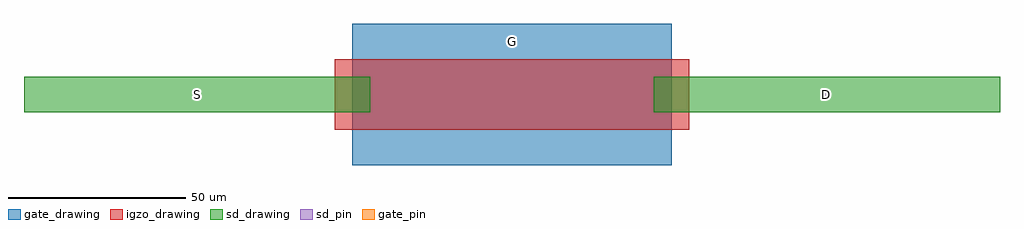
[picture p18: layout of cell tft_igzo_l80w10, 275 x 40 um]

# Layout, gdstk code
import gdstk
lib = gdstk.Library(unit=1e-6, precision=1e-09)
def R(c, l, rs):  # rectangles x0, y0, x1, y1
    for r in rs: c.add(gdstk.rectangle(r[:2], r[2:], *l))
gate_drawing = (2, 0)
gate_pin = (2, 10)
igzo_drawing = (4, 0)
sd_drawing = (6, 0)
sd_pin = (6, 10)

tft_igzo_l80w10 = lib.new_cell('tft_igzo_l80w10')
R(tft_igzo_l80w10, gate_drawing, [(-45,-20,45,20)])
R(tft_igzo_l80w10, gate_pin, [(-0.5,14.5,0.5,15.5)])
R(tft_igzo_l80w10, igzo_drawing, [(-50,-10,50,10)])
R(tft_igzo_l80w10, sd_drawing, [(-137.5,-5,-40,5), (40,-5,137.5,5)])
R(tft_igzo_l80w10, sd_pin, [(-89.25,-0.5,-88.25,0.5), (88.25,-0.5,89.25,0.5)])
tft_igzo_l80w10.add(gdstk.Label('S', (-88.75,0), layer=6, texttype=10))
tft_igzo_l80w10.add(gdstk.Label('D', (88.75,0), layer=6, texttype=10))
tft_igzo_l80w10.add(gdstk.Label('G', (0,15), layer=2, texttype=10))

lib.write_gds('tft_igzo_l80w10.gds')
